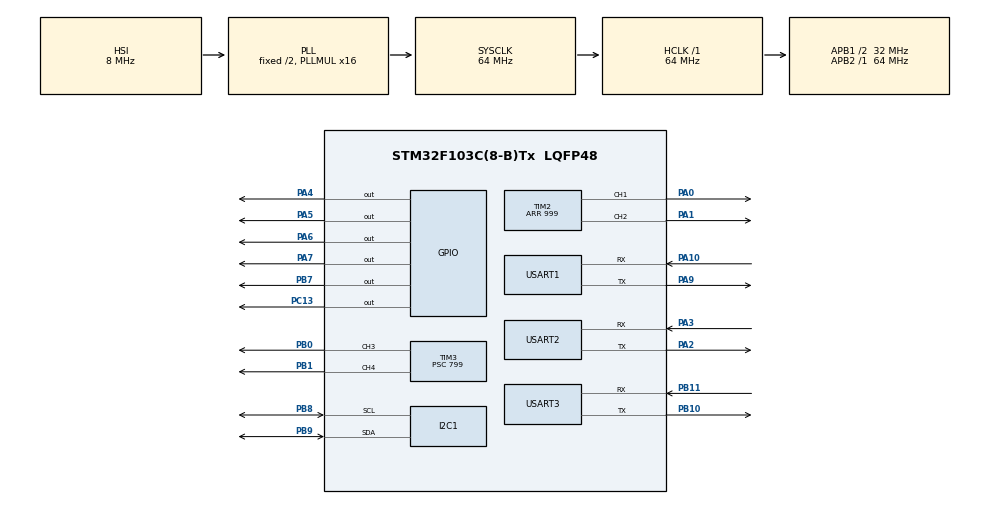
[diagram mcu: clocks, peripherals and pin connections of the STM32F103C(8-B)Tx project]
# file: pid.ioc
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I2C1.I2C_Mode=I2C_Fast
I2C1.NoStretchMode=I2C_NOSTRETCH_DISABLE
Mcu.Family=STM32F1
Mcu.Name=STM32F103C(8-B)Tx
Mcu.Package=LQFP48
NVIC.I2C1_EV_IRQn=true\:2\:0\:true\:false\:true\:true\:true\:true
NVIC.PriorityGroup=NVIC_PRIORITYGROUP_4
NVIC.RCC_IRQn=true\:0\:0\:false\:false\:true\:true\:false\:true
NVIC.TIM2_IRQn=true\:0\:0\:true\:false\:true\:true\:true\:true
NVIC.TIM3_IRQn=true\:0\:0\:true\:false\:true\:true\:true\:true
NVIC.USART1_IRQn=true\:1\:0\:true\:false\:true\:true\:true\:true
NVIC.USART2_IRQn=true\:1\:0\:true\:false\:true\:true\:true\:true
NVIC.USART3_IRQn=true\:1\:0\:true\:false\:true\:true\:true\:true
PA0-WKUP.Signal=S_TIM2_CH1_ETR
PA1.Signal=S_TIM2_CH2
PA10.GPIO_PuPd=GPIO_PULLUP
PA10.Mode=Asynchronous
PA10.Signal=USART1_RX
PA2.Mode=Asynchronous
PA2.Signal=USART2_TX
PA3.Mode=Asynchronous
PA3.Signal=USART2_RX
PA4.Signal=GPIO_Output
PA5.Signal=GPIO_Output
PA6.Signal=GPIO_Output
PA7.Signal=GPIO_Output
PA9.Mode=Asynchronous
PA9.Signal=USART1_TX
PB0.Signal=S_TIM3_CH3
PB1.Signal=S_TIM3_CH4
PB10.Mode=Asynchronous
PB10.Signal=USART3_TX
PB11.Mode=Asynchronous
PB11.Signal=USART3_RX
PB7.GPIO_Speed=GPIO_SPEED_FREQ_HIGH
PB7.Signal=GPIO_Output
PB8.Mode=I2C
PB8.Signal=I2C1_SCL
PB9.Mode=I2C
PB9.Signal=I2C1_SDA
PC13-TAMPER-RTC.Signal=GPIO_Output
PC14-OSC32_IN.Mode=LSE-External-Oscillator
PC14-OSC32_IN.Signal=RCC_OSC32_IN
PC15-OSC32_OUT.Mode=LSE-External-Oscillator
PC15-OSC32_OUT.Signal=RCC_OSC32_OUT
PD0-OSC_IN.Mode=HSE-External-Oscillator
PD0-OSC_IN.Signal=RCC_OSC_IN
PD1-OSC_OUT.Mode=HSE-External-Oscillator
PD1-OSC_OUT.Signal=RCC_OSC_OUT
ProjectManager.HeapSize=0x200
ProjectManager.StackSize=0x400
ProjectManager.TargetToolchain=MDK-ARM V5
RCC.AHBFreq_Value=64000000
RCC.APB1CLKDivider=RCC_HCLK_DIV2
RCC.APB1Freq_Value=32000000
RCC.APB1TimFreq_Value=64000000
RCC.APB2Freq_Value=64000000
RCC.APB2TimFreq_Value=64000000
RCC.HCLKFreq_Value=64000000
RCC.PLLMUL=RCC_PLL_MUL16
RCC.SYSCLKFreq_VALUE=64000000
RCC.SYSCLKSource=RCC_SYSCLKSOURCE_PLLCLK
RCC.USBFreq_Value=64000000
SH.S_TIM2_CH1_ETR.0=TIM2_CH1,PWM Generation1 CH1
SH.S_TIM2_CH2.0=TIM2_CH2,PWM Generation2 CH2
SH.S_TIM3_CH3.0=TIM3_CH3,PWM Generation3 CH3
SH.S_TIM3_CH4.0=TIM3_CH4,PWM Generation4 CH4
TIM2.Channel-PWM\ Generation1\ CH1=TIM_CHANNEL_1
TIM2.Channel-PWM\ Generation2\ CH2=TIM_CHANNEL_2
TIM2.Period=999
TIM3.Channel-PWM\ Generation3\ CH3=TIM_CHANNEL_3
TIM3.Channel-PWM\ Generation4\ CH4=TIM_CHANNEL_4
TIM3.Period=1599
TIM3.Prescaler=799
TIM3.Pulse-PWM\ Generation3\ CH3=40
TIM3.Pulse-PWM\ Generation4\ CH4=40
USART1.VirtualMode=VM_ASYNC
USART2.VirtualMode=VM_ASYNC
USART3.VirtualMode=VM_ASYNC
VP_SYS_VS_ND.Mode=No_Debug
VP_TIM2_VS_ClockSourceINT.Mode=Internal
VP_TIM3_VS_ClockSourceINT.Mode=Internal
board=custom

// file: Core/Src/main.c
/* USER CODE BEGIN Header */
/**
 ******************************************************************************
 * @file           : main.c
 * @brief          : Main program body
 ******************************************************************************
 * @attention
 *
 * Copyright (c) 2023 STMicroelectronics.
 * All rights reserved.
 *
 * This software is licensed under terms that can be found in the LICENSE file
 * in the root directory of this software component.
 * If no LICENSE file comes with this software, it is provided AS-IS.
 *
 ******************************************************************************
 */
/* USER CODE END Header */
#include "main.h"
#include "i2c.h"
#include "tim.h"
#include "usart.h"
#include "gpio.h"

/* USER CODE BEGIN Includes */
#include <stdio.h>
#include "mpu6050.h"
#include "delay.h"
#include "inv_mpu.h"
#include "inv_mpu_dmp_motion_driver.h"
#include <math.h>
#include "car.h"
#include "servo.h"
#include "pid.h"
/* USER CODE END Includes */

/* USER CODE BEGIN PTD */

char uart1_buffer;       // 定义一个长度为10的数组，用于存储接收到的数据
uint8_t uart1_flag = 0;  // uart1_flag
uint8_t uart2_buffer[1]; // 定义一个长度为10的数组，用于存储接收到的数据
uint8_t uart2_flag = 0;
uint8_t uart3_buffer[1]; // 定义一个长度为10的数组，用于存储接收到的数据
uint8_t uart3_flag = 0;  // uart1_flag
int car_straight_flag = 0;
int car_right_flag = 0;
int car_left_flag = 0;
/* USER CODE END PTD */

void SystemClock_Config(void);

/* USER CODE BEGIN 0 */

// 函数声明
void Mpu6050_Init(void);
void Problem1(void);
void Test(void);
void BuzzleOn(void);
void BuzzleOff(void);
void Voice(void);
/* USER CODE END 0 */

int main(void)
{
  /* USER CODE BEGIN 1 */
  // float current_yaw = 0.0;
  // int left_pwm = 0;
  // int right_pwm = 0;

  // float target_angle = 75.0; // 假设目标方向为90度
  // float Kp = 1.0;
  // float Ki = 0;
  // float Kd = 0.01;
  // float integral = 0.0;
  // float previous_error = 0.0;
  // float error = 0;
  // float proportional, derivative, control;

  int problem1_flag = 0;

  /* USER CODE END 1 */

  /* MCU Configuration--------------------------------------------------------*/

  /* Reset of all peripherals, Initializes the Flash interface and the Systick. */
  HAL_Init();

  /* Configure the system clock */
  SystemClock_Config();

  /* Initialize all configured peripherals */
  MX_GPIO_Init();
  MX_I2C1_Init();
  MX_TIM2_Init();
  MX_USART1_UART_Init();
  MX_USART2_UART_Init();
  MX_USART3_UART_Init();
  MX_TIM3_Init();
  /* USER CODE BEGIN 2 */
  HAL_TIM_Base_Start(&htim2);
  HAL_TIM_PWM_Start(&htim2, TIM_CHANNEL_1);
  HAL_TIM_PWM_Start(&htim2, TIM_CHANNEL_2);
  HAL_TIM_Base_Start(&htim3);
  HAL_TIM_PWM_Start(&htim3, TIM_CHANNEL_1);
  HAL_TIM_PWM_Start(&htim3, TIM_CHANNEL_2);
  HAL_TIM_PWM_Start(&htim3, TIM_CHANNEL_3);
  HAL_TIM_PWM_Start(&htim3, TIM_CHANNEL_4);
  HAL_UART_Receive_IT(&huart1, (uint8_t *)&uart1_buffer, sizeof(uart1_buffer));
  HAL_UART_Receive_IT(&huart2, uart2_buffer, sizeof(uart2_buffer));
  HAL_UART_Receive_IT(&huart3, uart3_buffer, sizeof(uart3_buffer));
  uart3_buffer[0] = 'b';

  // 舵机初始化
  // servo_init();
  Mpu6050_Init();
  // 左转
  // motor_turn_left();
  // 正转
  motor_forward();

  /* USER CODE END 2 */

  /* Infinite loop */
  /* USER CODE BEGIN WHILE */
  // BuzzleOn();
  delay_ms(3000);
  while (1)
  {
    if (uart3_buffer[0] == 'b')
      Problem1();
    if (uart3_buffer[0] == 'a')
      Problem1();
    if (uart3_buffer[0] == 'c')
      Problem1();

    // Test();
    // if (problem1_flag == 0)
    // {
    //   problem1_flag = CarStraight();
    // }

    // if (problem1_flag == 1)
    // {
    //   motor_turn_left();
    // CarLeft90();
    // }
    // UsartTest();
    // 调试串口用
    // if (uart2_flag == 1)
    // {
    //   if (uart2_buffer[0] == 'a')
    //   {
    //     HAL_GPIO_WritePin(GPIOC, GPIO_PIN_13, GPIO_PIN_RESET); // LED0对应引脚PB5拉低，亮，等同于LED0(0)
    //     delay_ms(100);
    //     HAL_GPIO_WritePin(GPIOC, GPIO_PIN_13, GPIO_PIN_SET); // LED0对应引脚PB5拉低，亮，等同于LED0(0)
    //     delay_ms(100);
    //     HAL_GPIO_WritePin(GPIOC, GPIO_PIN_13, GPIO_PIN_RESET); // LED0对应引脚PB5拉低，亮，等同于LED0(0)
    //     delay_ms(100);
    //     HAL_GPIO_WritePin(GPIOC, GPIO_PIN_13, GPIO_PIN_SET); // LED0对应引脚PB5拉低，亮，等同于LED0(0)
    //     uart2_flag = 0;
    //   }
    // }

    // car_stright(left_pwm, right_pwm);
    // delay_ms(100);
    // printf("yaw=  %.2f\r\n", current_yaw);
    // car_stright(3500, 3500);
    // if (uart1_flag == 1)
    // {
    //   if (uart1_buffer[0] == 'a')
    //   {
    //     printf("uart1_buffer: %d", uart1_buffer[0]);
    //     car_stright(3500, 3500);
    //   }
    //   if (uart1_buffer[0] == 'b')
    //   {
    //     car_left(3500, 1500);
    //   }
    //   if (uart1_buffer[0] == 'c')
    //   {
    //     car_right(1500, 3500);
    //   }
    //   if (uart1_buffer[0] == 'd')
    //   {
    //     car_right(0, 0);
    //   }
    //   uart1_flag = 0;
    // }
    //		pid_control(0,get_angle());
    /* USER CODE END WHILE */

  }
}

void SystemClock_Config(void)
{
  RCC_OscInitTypeDef RCC_OscInitStruct = {0};
  RCC_ClkInitTypeDef RCC_ClkInitStruct = {0};

  /** Initializes the RCC Oscillators according to the specified parameters
   * in the RCC_OscInitTypeDef structure.
   */
  RCC_OscInitStruct.OscillatorType = RCC_OSCILLATORTYPE_HSI;
  RCC_OscInitStruct.HSIState = RCC_HSI_ON;
  RCC_OscInitStruct.HSICalibrationValue = RCC_HSICALIBRATION_DEFAULT;
  RCC_OscInitStruct.PLL.PLLState = RCC_PLL_ON;
  RCC_OscInitStruct.PLL.PLLSource = RCC_PLLSOURCE_HSI_DIV2;
  RCC_OscInitStruct.PLL.PLLMUL = RCC_PLL_MUL16;
  if (HAL_RCC_OscConfig(&RCC_OscInitStruct) != HAL_OK)
  {
    Error_Handler();
  }

  /** Initializes the CPU, AHB and APB buses clocks
   */
  RCC_ClkInitStruct.ClockType = RCC_CLOCKTYPE_HCLK | RCC_CLOCKTYPE_SYSCLK | RCC_CLOCKTYPE_PCLK1 | RCC_CLOCKTYPE_PCLK2;
  RCC_ClkInitStruct.SYSCLKSource = RCC_SYSCLKSOURCE_PLLCLK;
  RCC_ClkInitStruct.AHBCLKDivider = RCC_SYSCLK_DIV1;
  RCC_ClkInitStruct.APB1CLKDivider = RCC_HCLK_DIV2;
  RCC_ClkInitStruct.APB2CLKDivider = RCC_HCLK_DIV1;

  if (HAL_RCC_ClockConfig(&RCC_ClkInitStruct, FLASH_LATENCY_2) != HAL_OK)
  {
    Error_Handler();
  }
}

/* USER CODE BEGIN 4 */
void HAL_UART_RxCpltCallback(UART_HandleTypeDef *huart)
{
  if (huart->Instance == USART1)
  {

    // 接收到数据后，将其存储到buffer数组中
    HAL_UART_Receive_IT(&huart1, (uint8_t *)&uart1_buffer, sizeof(uart1_buffer)); // 再次启用串口接收中断，以接收下一批数据
    uart1_flag = 1;
    if (uart1_flag == 1)
    {
      if (uart1_buffer == uart3_buffer[0])
      {
        HAL_GPIO_WritePin(GPIOC, GPIO_PIN_13, GPIO_PIN_SET);
        car_straight_flag = 1;
      }
      uart1_buffer = '0';
      uart1_flag = 0;
    }

    // HAL_UART_Transmit(&huart1, uart1_buffer, sizeof(uart1_buffer), HAL_MAX_DELAY);
  }
  if (huart->Instance == USART2)
  {

    // 接收到数据后，将其存储到buffer数组中
    HAL_UART_Receive_IT(&huart2, uart2_buffer, sizeof(uart2_buffer)); // 再次启用串口接收中断，以接收下一批数据
    uart2_flag = 1;

    // 不能发！！！发了会清零
    // HAL_UART_Transmit(&huart2, uart2_buffer, sizeof(uart2_buffer), HAL_MAX_DELAY);
  }
  if (huart->Instance == USART3)
  {
    // 接收到数据后，将其存储到buffer数组中
    if (uart3_buffer[0] == 'b')
    {
      HAL_GPIO_WritePin(GPIOC, GPIO_PIN_13, GPIO_PIN_RESET); // LED0对应引脚PB5拉低，亮，等同于LED0(0)
    }
    else
    {
      HAL_GPIO_WritePin(GPIOC, GPIO_PIN_13, GPIO_PIN_SET); // LED0对应引脚PB5拉低，亮，等同于LED0(0)
    }
    HAL_UART_Receive_IT(&huart3, uart3_buffer, sizeof(uart3_buffer)); // 再次启用串口接收中断，以接收下一批数据
    uart3_flag = 1;
    // 不能发！！！发了会清零
    // HAL_UART_Transmit(&huart2, uart2_buffer, sizeof(uart2_buffer), HAL_MAX_DELAY);
  }
}

void Mpu6050_Init(void)
{
  while (MPU_Init())
    ; // 初始化MPU6050
  printf("%s\r\n", "MPU Init...");
  while (mpu_dmp_init())
  {
    HAL_GPIO_WritePin(GPIOC, GPIO_PIN_13, GPIO_PIN_RESET); // LED0对应引脚PB5拉低，亮，等同于LED0(0)
    delay_ms(100);
    HAL_GPIO_WritePin(GPIOC, GPIO_PIN_13, GPIO_PIN_SET); // LED0对应引脚PB5拉低，亮，等同于LED0(0)
    printf("%s\r\n", "Mpu6050 Init Wrong!");
  }
  HAL_GPIO_WritePin(GPIOC, GPIO_PIN_13, GPIO_PIN_RESET); // LED0对应引脚PB5拉低，亮，等同于LED0(0)
  printf("%s\r\n", "Mpu6050 Init OK!");
  HAL_GPIO_WritePin(GPIOC, GPIO_PIN_13, GPIO_PIN_SET);
}

void Test(void)
{
  car_stright(500, 500);
  delay_ms(1000);
  car_stop();
  delay_ms(1000);
  while (1)
  {
    car_right_flag = CarLeft90();
    while (car_right_flag)
    {
      car_stop();
      delay_ms(1000);
      motor_backward();
      int count = 130;
      while (count--)
      {
        CarBack();
      }
      car_stop();
      delay_ms(1000);
      count = 130;
      motor_forward();
      while (count--)
      {
        CarBack();
      }
    }
  }
}

void Problem1(void)
{
  if (car_straight_flag == 0)
    CarStraight();
  if (car_straight_flag == 1)
  {
    delay_ms(180);
    car_stop();
    delay_ms(1000);
    while (1)
    {
      car_right_flag = CarLeft90();
      while (car_right_flag)
      {
        car_stop();
        delay_ms(1000);
        motor_backward();
        int count = 100;
        while (count--)
        {
          CarBack();
        }
        car_stop();
        Voice();
        motor_forward();
        car_stright(600, 600);
        delay_ms(650);
        car_stop();
        delay_ms(700);
        while (1)
        {
          car_left_flag = CarRight90();
          while (car_left_flag)
          {
            car_stop();
            delay_ms(1000);
            motor_forward();
            count = 300;
            while (count--)
            {
              CarStraight();
            }
            while (1)
            {
              car_stop();
            }
          }
        }
      }
    }
  }
}

void BuzzleOn(void)
{
  HAL_GPIO_WritePin(GPIOB, GPIO_PIN_7, GPIO_PIN_RESET);
}
void BuzzleOff(void)
{
  HAL_GPIO_WritePin(GPIOB, GPIO_PIN_7, GPIO_PIN_SET);
}

void Voice(void)
{
  BuzzleOn();
  HAL_GPIO_WritePin(GPIOC, GPIO_PIN_13, GPIO_PIN_RESET);
  delay_ms(1000);
  HAL_GPIO_WritePin(GPIOC, GPIO_PIN_13, GPIO_PIN_SET); // LED0对应引脚PB5拉低，亮，等同于LED0(0)
  HAL_GPIO_WritePin(GPIOC, GPIO_PIN_13, GPIO_PIN_RESET);
  delay_ms(1000);
  HAL_GPIO_WritePin(GPIOC, GPIO_PIN_13, GPIO_PIN_SET);
  HAL_GPIO_WritePin(GPIOC, GPIO_PIN_13, GPIO_PIN_RESET);
  delay_ms(1000);
  HAL_GPIO_WritePin(GPIOC, GPIO_PIN_13, GPIO_PIN_SET);
  HAL_GPIO_WritePin(GPIOC, GPIO_PIN_13, GPIO_PIN_RESET);
  delay_ms(1000);
  HAL_GPIO_WritePin(GPIOC, GPIO_PIN_13, GPIO_PIN_SET);
  HAL_GPIO_WritePin(GPIOC, GPIO_PIN_13, GPIO_PIN_RESET);
  delay_ms(1000);
  HAL_GPIO_WritePin(GPIOC, GPIO_PIN_13, GPIO_PIN_SET);
  BuzzleOff();
}
/* USER CODE END 4 */

void Error_Handler(void)
{
  __disable_irq();
  while (1)
  {
  }
}
